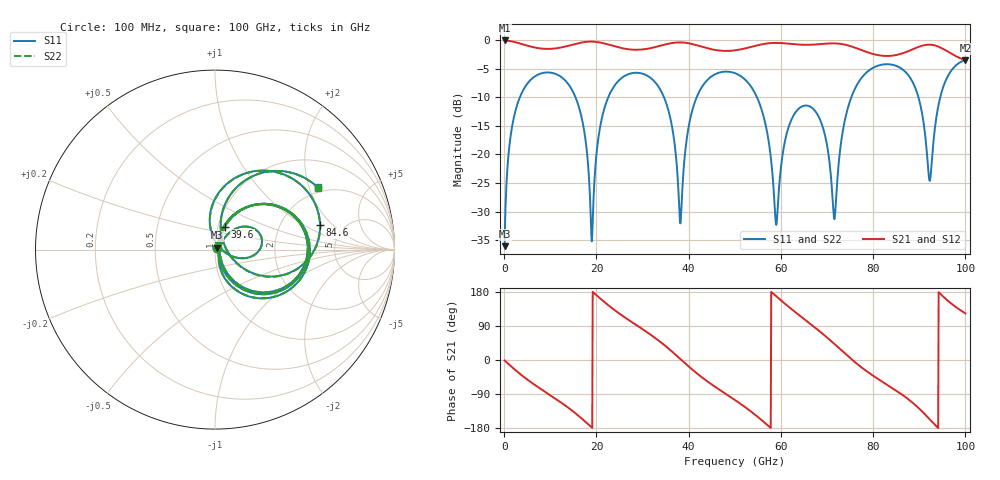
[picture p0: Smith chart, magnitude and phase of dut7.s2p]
! Touchstone file exported from HFSS 2026.1.0
!  File:  C:/ffzhzh/LocalFiles/Ansys_Project_Files/temp_train_TSV_RDL_7_1783436546_7600.aedt
!  Generated:  11:16:01 PM Jul  7, 2026
!  Design:  TSV_RDL
!  Project:  temp_train_TSV_RDL_7_1783436546_7600
! Variables:
!  h_bsmrdl = 2.95um
!  h_ox = 20um
!  h_rdl = 5um
!  h_sub = 60.79um
!  h_tmrdl = 4.82um
!  h_tsv = 60.79um
!  h_via = 3um
!  l_bsmrdl = 398.42um
!  l_sub = 3323.95um
!  l_tmrdl = 392.19um
!  m_sub = 200um
!  pitch = 59.01um
!  r_tsv = 12.25um
!  s_tmrdl = 10um
!  w_bsmrdl = 24.91um
!  w_sub = 500um
!  w_tmrdl = 28.4um
!  x_tsv_center1 = 406.39um
!  x_tsv_center2 = 829.72um
!  x_tsv_center3 = 1250.31um
!  x_tsv_center4 = 1673.64um
!  x_tsv_center5 = 2094.23um
!  x_tsv_center6 = 2517.56um
# GHz S MA R 50.000000
! Terminal data exported
! Port[1] = TM_RDL1_1_T1
! Port[2] = TM_RDL5_1_T1
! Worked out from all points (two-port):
!   1000 points, 100 MHz to 100 GHz, reference 50 ohm
!   highest |S21| = -0.10 dB at 100 MHz (marker M1); lowest = -3.5 dB at 100 GHz (marker M2)
!   |S21| within 3 dB of the highest: start of sweep to 98.59 GHz
!   lowest |S11| = -36.0 dB at 100 MHz (marker M3), VSWR 1.03, Z = 51.1 + j1.14 ohm
!   |S11| at or under -10 dB: 15.46 GHz to 22.58 GHz (7.12 GHz wide, 37.4 % of centre); 34.65 GHz to 41.75 GHz (7.104 GHz wide, 18.6 % of centre); 54.8 GHz to 75.28 GHz (20.48 GHz wide, 31.5 % of centre)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
!   |S22| runs from -36.0 to -3.5 dB; largest |S21 - S12| = 1.9e-12
!   S11 on the Smith chart (normalised r, x): 100 MHz: 1.02, +0.02; 39.6 GHz: 1.08, +0.28; 84.6 GHz: 3.36, +1.42; 100 GHz: 1.83, +2.29
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0.1  0.01582 45.0  0.989 -1.2  0.989 -1.2  0.01582 45.0
! Gamma 0 0 0 0
! Port Impedance 50 0 50 0
1.7  0.173 66.2  0.9698 -18.8  0.9698 -18.8  0.173 66.2
4.9  0.4086 37.0  0.8941 -50.5  0.8941 -50.5  0.4086 37.0
16.8  0.2099 -61.3  0.9487 -154.3  0.9487 -154.3  0.2098 -61.3
19  0.01744 -0.4  0.9661 -178.0  0.9661 -178.0  0.0174 -0.1
23.2  0.3571 45.4  0.8967 138.6  0.8967 138.6  0.3572 45.4
33.4  0.3938 -36.5  0.8793 52.1  0.8793 52.1  0.3938 -36.4
38.1  0.02696 -19.2  0.9512 3.7  0.9512 3.7  0.02751 -18.6
39.6  0.1381 66.4  0.9405 -12.6  0.9405 -12.6  0.1383 66.1
50.1  0.5113 -15.9  0.8114 -106.1  0.8114 -106.1  0.5113 -15.8
55.9  0.2403 -64.2  0.9151 -159.4  0.9151 -159.4  0.2403 -63.9
59  0.02427 -9.5  0.9414 168.0  0.9414 168.0  0.02564 -9.6
61.8  0.1794 43.3  0.9259 139.2  0.9259 139.2  0.1796 42.9
66.7  0.256 3.0  0.9083 92.3  0.9083 92.3  0.256 2.8
71.6  0.02725 40.5  0.9324 42.3  0.9324 42.3  0.0277 40.7
75.4  0.3259 85.3  0.874 1.1  0.874 1.1  0.3262 85.0
83.4  0.6125 21.7  0.7244 -68.2  0.7244 -68.2  0.6126 21.5
84.6  0.6005 13.0  0.7329 -77.6  0.7329 -77.6  0.6006 12.8
89.5  0.3472 -25.6  0.8581 -122.8  0.8581 -122.8  0.3472 -25.9
92.3  0.0588 27.7  0.9088 -156.9  0.9088 -156.9  0.05763 27.6
95.1  0.3781 70.0  0.8376 168.4  0.8376 168.4  0.3779 70.0
100  0.6691 31.2  0.6656 122.9  0.6656 122.9  0.669 31.0
